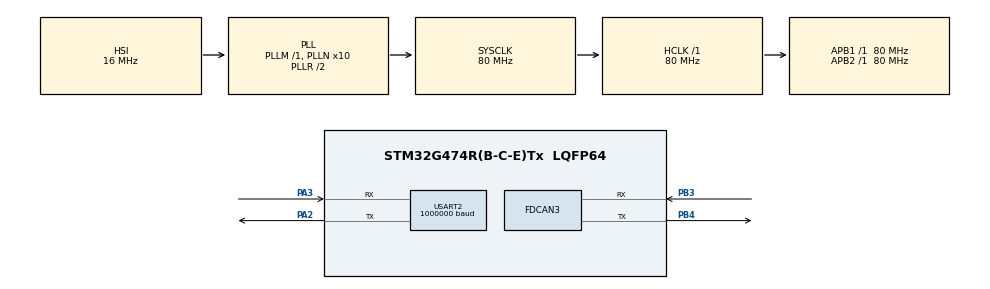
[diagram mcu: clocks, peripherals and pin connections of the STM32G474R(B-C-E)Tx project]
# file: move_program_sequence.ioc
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FDCAN3.CalculateBaudRateNominal=1000000
FDCAN3.CalculateTimeBitNominal=1000
FDCAN3.CalculateTimeQuantumNominal=50.0
FDCAN3.DataPrescaler=2
FDCAN3.DataTimeSeg1=15
FDCAN3.DataTimeSeg2=4
FDCAN3.FrameFormat=FDCAN_FRAME_FD_BRS
FDCAN3.NominalPrescaler=4
FDCAN3.NominalTimeSeg1=15
FDCAN3.NominalTimeSeg2=4
FDCAN3.StdFiltersNbr=1
Mcu.Family=STM32G4
Mcu.Name=STM32G474R(B-C-E)Tx
Mcu.Package=LQFP64
NVIC.FDCAN3_IT0_IRQn=true\:0\:0\:false\:false\:true\:true\:true\:true
NVIC.FDCAN3_IT1_IRQn=true\:0\:0\:false\:false\:true\:true\:true\:true
NVIC.PriorityGroup=NVIC_PRIORITYGROUP_4
NVIC.TIM6_DAC_IRQn=true\:0\:0\:false\:false\:true\:true\:true\:true
NVIC.TIM7_DAC_IRQn=true\:0\:0\:false\:false\:true\:true\:true\:true
NVIC.USART2_IRQn=true\:0\:0\:false\:false\:true\:true\:true\:true
PA2.Mode=Asynchronous
PA2.Signal=USART2_TX
PA3.Mode=Asynchronous
PA3.Signal=USART2_RX
PB3.Mode=FDCAN_Activate
PB3.Signal=FDCAN3_RX
PB4.Mode=FDCAN_Activate
PB4.Signal=FDCAN3_TX
ProjectManager.HeapSize=0x200
ProjectManager.StackSize=0x400
ProjectManager.TargetToolchain=STM32CubeIDE
RCC.ADC12Freq_Value=80000000
RCC.ADC345Freq_Value=80000000
RCC.AHBFreq_Value=80000000
RCC.APB1Freq_Value=80000000
RCC.APB1TimFreq_Value=80000000
RCC.APB2Freq_Value=80000000
RCC.APB2TimFreq_Value=80000000
RCC.CortexFreq_Value=80000000
RCC.EXTERNAL_CLOCK_VALUE=12288000
RCC.HCLKFreq_Value=80000000
RCC.HSE_VALUE=8000000
RCC.HSI48_VALUE=48000000
RCC.HSI_VALUE=16000000
RCC.LSE_VALUE=32768
RCC.PLLN=10
RCC.SYSCLKFreq_VALUE=80000000
RCC.SYSCLKSource=RCC_SYSCLKSOURCE_PLLCLK
RCC.USBFreq_Value=80000000
RCC.VCOOutputFreq_Value=160000000
TIM6.PeriodNoDither=7999
TIM6.Prescaler=9
TIM7.PeriodNoDither=39999
TIM7.Prescaler=199
USART2.BaudRate=1000000
USART2.VirtualMode-Asynchronous=VM_ASYNC
VP_SYS_VS_DBSignals.Mode=DisableDeadBatterySignals
VP_TIM6_VS_ClockSourceINT.Mode=Enable_Timer
VP_TIM7_VS_ClockSourceINT.Mode=Enable_Timer
board=custom

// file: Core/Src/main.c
/* USER CODE BEGIN Header */
/**
  ******************************************************************************
  * @file           : main.c
  * @brief          : Main program body
  ******************************************************************************
  * @attention
  *
  * Copyright (c) 2024 STMicroelectronics.
  * All rights reserved.
  *
  * This software is licensed under terms that can be found in the LICENSE file
  * in the root directory of this software component.
  * If no LICENSE file comes with this software, it is provided AS-IS.
  *
  ******************************************************************************
  */
/* USER CODE END Header */
#include "main.h"

/* USER CODE BEGIN Includes */
#include <stdio.h>
/* USER CODE END Includes */

/* USER CODE BEGIN PD */
#define R_F 4
#define L_F 3
#define R_B 1
#define L_B 2
/* USER CODE END PD */

FDCAN_HandleTypeDef hfdcan3;

TIM_HandleTypeDef htim6;
TIM_HandleTypeDef htim7;

UART_HandleTypeDef huart2;

/* USER CODE BEGIN PV */
typedef struct{
	uint16_t CANID;
	uint8_t motorID;
	//int8_t rotDir;//rotation direction
	int16_t trgVel;//target angle velocity [RPM]
	volatile int16_t actVel;//actual angle velocity [RPM]
	volatile int16_t p_actVel;//past actual velocit[RPM]
	volatile int16_t cu;//input
	double angle;//[rad]
	//double reductionRatio; //@param reduction ratio (1:param)
	int16_t actCurrent;//actual torque current
	float hensa;//hensa
}motor;

FDCAN_TxHeaderTypeDef TxHeader;
FDCAN_RxHeaderTypeDef RxHeader;
FDCAN_FilterTypeDef sFilterConfig;

uint8_t TxData[8] = {};
uint8_t RxData[8] = {};
uint32_t TxMailbox;

volatile int16_t purpose = -32;
int hekichi1 = 1000;
int hekichi2 = 2000;//reset
motor robomas[4] = {
		{0x201, 1, 0, 0, 0, 0, 0, 0, 0},
		{0x202, 2, 0, 0, 0, 0, 0, 0, 0},
		{0x203, 3, 0, 0, 0, 0, 0, 0, 0},
		{0x204, 4, 0, 0, 0, 0, 0, 0, 0}
};
volatile float k_p = 7, k_i = 0.5, k_d = 0.0001;

float ind[4] = {0, 0, 0 ,0};
int16_t count=1;

/* USER CODE END PV */

void SystemClock_Config(void);
static void MX_GPIO_Init(void);
static void MX_FDCAN3_Init(void);
static void MX_TIM6_Init(void);
static void MX_USART2_UART_Init(void);
static void MX_TIM7_Init(void);

/* USER CODE BEGIN 0 */

void HAL_TIM_PeriodElapsedCallback(TIM_HandleTypeDef *htim){
	if(htim == &htim6){

/*
		robomas[0].trgVel = (int)(-purpose * 36);
		robomas[1].trgVel = (int)(purpose * 36);
		robomas[2].trgVel =  (int)(purpose * 36);
		robomas[3].trgVel = (int)(-purpose * 36);
*/

		for (int i=0; i<=3; i++){
			robomas[i].hensa = robomas[i].trgVel - robomas[i].actVel;
			if (robomas[i].hensa >= 1000) robomas[i].hensa = 1000;
			else if (robomas[i].hensa <= -1000) robomas[i].hensa = -1000;
			float d = (robomas[i].actVel - robomas[i].p_actVel) / 0.001;
			ind[i] += robomas[i].hensa*0.1;
			if (d >= 30000) d = 30000;
			else if (d <= -30000) d = -30000;
			if (ind[i] >= 10000) ind[i] = 10000;
			else if (ind[i] <= -10000) ind[i] = -10000;

			float t = k_p*robomas[i].hensa;
			if (t>=10000) t = 10000;
			else if (t<=-10000) t = -10000;
			robomas[i].cu = (int16_t)(t+k_i*ind[i]+k_d*d);
			if (robomas[i].cu <= -10000) robomas[i].cu = -10000;
			else if (robomas[i].cu >= 10000) robomas[i].cu = 10000;

			TxData[i*2] = (robomas[i].cu) >> 8;
			TxData[i*2+1] = (uint8_t)((robomas[i].cu) & 0xff);
			robomas[i].p_actVel = robomas[i].actVel;
		}
		if (HAL_FDCAN_AddMessageToTxFifoQ(&hfdcan3, &TxHeader, TxData) != HAL_OK){
			Error_Handler();
		}
		if (count == hekichi2){
			count = 0;
		}
		count++;
	}

	if(htim == &htim7){
		if (count == -1) {
			robomas[R_F-1].trgVel *= -1;
			robomas[L_B-1].trgVel *= -1;
		}
		if (count == 1) {
			robomas[R_B-1].trgVel *= -1;
			robomas[L_F-1].trgVel *= -1;
		}
		count *= -1;
	}
}

void HAL_FDCAN_RxFifo0Callback(FDCAN_HandleTypeDef *hfdcan, uint32_t RxFifo0ITs){
	if ((RxFifo0ITs & FDCAN_IT_RX_FIFO0_NEW_MESSAGE) != RESET) {

	        /* Retrieve Rx messages from RX FIFO0 */
		if (HAL_FDCAN_GetRxMessage(&hfdcan3, FDCAN_RX_FIFO0, &RxHeader, RxData) != HAL_OK) {
			printf("fdcan_getrxmessage is error\r\n");
			Error_Handler();
		}
		for (int i=0; i<=3;i++){
			if (RxHeader.Identifier == (robomas[i].CANID)) {
				robomas[i].angle = (int16_t)((RxData[0] << 8) | RxData[1]);
				robomas[i].actVel = (int16_t)((RxData[2] << 8) | RxData[3]);
				robomas[i].actCurrent = (int16_t)((RxData[4] << 8) | RxData[5]);
			}
		}

	}

}

void FDCAN_RxSettings(void){
	FDCAN_FilterTypeDef FDCAN_Filter_settings;
	FDCAN_Filter_settings.IdType = FDCAN_STANDARD_ID;
	FDCAN_Filter_settings.FilterIndex = 0;
	FDCAN_Filter_settings.FilterType = FDCAN_FILTER_RANGE;
	FDCAN_Filter_settings.FilterConfig = FDCAN_FILTER_TO_RXFIFO0;
	FDCAN_Filter_settings.FilterID1 = 0x200;
	FDCAN_Filter_settings.FilterID2 = 0x210;

	if (HAL_FDCAN_ConfigFilter(&hfdcan3, &FDCAN_Filter_settings) != HAL_OK){
		printf("fdcan_configfilter is error\r\n");
		Error_Handler();
	}

	if (HAL_FDCAN_ConfigGlobalFilter(&hfdcan3, FDCAN_REJECT, FDCAN_FILTER_REJECT, FDCAN_FILTER_REMOTE, FDCAN_FILTER_REMOTE)){
		printf("fdcan_configglobalfilter is error\r\n");
		Error_Handler();
	}

	if (HAL_FDCAN_Start(&hfdcan3) != HAL_OK) {
		printf("fdcan_start is error\r\n");
		Error_Handler();
	}

	if (HAL_FDCAN_ActivateNotification(&hfdcan3, FDCAN_IT_RX_FIFO0_NEW_MESSAGE, 0) != HAL_OK){
		printf("fdcan_activatenotification is error\r\n");
		Error_Handler();
	}
}

void FDCAN_TxSettings(void) {
	  TxHeader.Identifier = 0x000;
	  TxHeader.IdType = FDCAN_STANDARD_ID;
	  TxHeader.TxFrameType = FDCAN_DATA_FRAME;
	  TxHeader.DataLength = FDCAN_DLC_BYTES_8;
	  TxHeader.ErrorStateIndicator = FDCAN_ESI_ACTIVE;
	  TxHeader.BitRateSwitch = FDCAN_BRS_OFF;
	  TxHeader.FDFormat = FDCAN_CLASSIC_CAN;
	  TxHeader.TxEventFifoControl = FDCAN_NO_TX_EVENTS;
	  TxHeader.MessageMarker = 0;
}

int _write(int file, char *ptr, int len)
{
    HAL_UART_Transmit(&huart2,(uint8_t *)ptr,len,10);
    return len;
}

/* USER CODE END 0 */

int main(void)
{

  /* USER CODE BEGIN 1 */
	setbuf(stdout, NULL);

  /* USER CODE END 1 */

  /* MCU Configuration--------------------------------------------------------*/

  /* Reset of all peripherals, Initializes the Flash interface and the Systick. */
  HAL_Init();

  /* Configure the system clock */
  SystemClock_Config();

  /* Initialize all configured peripherals */
  MX_GPIO_Init();
  MX_FDCAN3_Init();
  MX_TIM6_Init();
  MX_USART2_UART_Init();
  MX_TIM7_Init();
  /* USER CODE BEGIN 2 */
  printf("start\r\n");

  FDCAN_TxSettings();
  FDCAN_RxSettings();

  printf("can_start\r\n");

  TxHeader.Identifier = 0x200;
  HAL_TIM_Base_Start_IT(&htim6);
  HAL_TIM_Base_Start_IT(&htim7);
  robomas[R_F-1].trgVel = (int)(32 * 36);
  robomas[R_B-1].trgVel = (int)(32 * 36);
  robomas[L_F-1].trgVel =  (int)(-32 * 36);
  robomas[L_B-1].trgVel = (int)(-32 * 36);

  /* USER CODE END 2 */

  /* Infinite loop */
  /* USER CODE BEGIN WHILE */
  while (1)
  {
	  printf("count:%d,purpose:%d,cu:%d,trgVel:%d,actVel:%d,hensa:%d\r\n", count, purpose, robomas[0].cu, robomas[0].trgVel, robomas[0].actVel, (int)robomas[0].hensa);
	  HAL_Delay(1);
    /* USER CODE END WHILE */

  }
}

void SystemClock_Config(void)
{
  RCC_OscInitTypeDef RCC_OscInitStruct = {0};
  RCC_ClkInitTypeDef RCC_ClkInitStruct = {0};

  /** Configure the main internal regulator output voltage
  */
  HAL_PWREx_ControlVoltageScaling(PWR_REGULATOR_VOLTAGE_SCALE1);

  /** Initializes the RCC Oscillators according to the specified parameters
  * in the RCC_OscInitTypeDef structure.
  */
  RCC_OscInitStruct.OscillatorType = RCC_OSCILLATORTYPE_HSI;
  RCC_OscInitStruct.HSIState = RCC_HSI_ON;
  RCC_OscInitStruct.HSICalibrationValue = RCC_HSICALIBRATION_DEFAULT;
  RCC_OscInitStruct.PLL.PLLState = RCC_PLL_ON;
  RCC_OscInitStruct.PLL.PLLSource = RCC_PLLSOURCE_HSI;
  RCC_OscInitStruct.PLL.PLLM = RCC_PLLM_DIV1;
  RCC_OscInitStruct.PLL.PLLN = 10;
  RCC_OscInitStruct.PLL.PLLP = RCC_PLLP_DIV2;
  RCC_OscInitStruct.PLL.PLLQ = RCC_PLLQ_DIV2;
  RCC_OscInitStruct.PLL.PLLR = RCC_PLLR_DIV2;
  if (HAL_RCC_OscConfig(&RCC_OscInitStruct) != HAL_OK)
  {
    Error_Handler();
  }

  /** Initializes the CPU, AHB and APB buses clocks
  */
  RCC_ClkInitStruct.ClockType = RCC_CLOCKTYPE_HCLK|RCC_CLOCKTYPE_SYSCLK
                              |RCC_CLOCKTYPE_PCLK1|RCC_CLOCKTYPE_PCLK2;
  RCC_ClkInitStruct.SYSCLKSource = RCC_SYSCLKSOURCE_PLLCLK;
  RCC_ClkInitStruct.AHBCLKDivider = RCC_SYSCLK_DIV1;
  RCC_ClkInitStruct.APB1CLKDivider = RCC_HCLK_DIV1;
  RCC_ClkInitStruct.APB2CLKDivider = RCC_HCLK_DIV1;

  if (HAL_RCC_ClockConfig(&RCC_ClkInitStruct, FLASH_LATENCY_2) != HAL_OK)
  {
    Error_Handler();
  }
}

static void MX_FDCAN3_Init(void)
{

  hfdcan3.Instance = FDCAN3;
  hfdcan3.Init.ClockDivider = FDCAN_CLOCK_DIV1;
  hfdcan3.Init.FrameFormat = FDCAN_FRAME_FD_BRS;
  hfdcan3.Init.Mode = FDCAN_MODE_NORMAL;
  hfdcan3.Init.AutoRetransmission = DISABLE;
  hfdcan3.Init.TransmitPause = DISABLE;
  hfdcan3.Init.ProtocolException = DISABLE;
  hfdcan3.Init.NominalPrescaler = 4;
  hfdcan3.Init.NominalSyncJumpWidth = 1;
  hfdcan3.Init.NominalTimeSeg1 = 15;
  hfdcan3.Init.NominalTimeSeg2 = 4;
  hfdcan3.Init.DataPrescaler = 2;
  hfdcan3.Init.DataSyncJumpWidth = 1;
  hfdcan3.Init.DataTimeSeg1 = 15;
  hfdcan3.Init.DataTimeSeg2 = 4;
  hfdcan3.Init.StdFiltersNbr = 1;
  hfdcan3.Init.ExtFiltersNbr = 0;
  hfdcan3.Init.TxFifoQueueMode = FDCAN_TX_FIFO_OPERATION;
  if (HAL_FDCAN_Init(&hfdcan3) != HAL_OK)
  {
    Error_Handler();
  }

}

static void MX_TIM6_Init(void)
{

  TIM_MasterConfigTypeDef sMasterConfig = {0};

  htim6.Instance = TIM6;
  htim6.Init.Prescaler = 9;
  htim6.Init.CounterMode = TIM_COUNTERMODE_UP;
  htim6.Init.Period = 7999;
  htim6.Init.AutoReloadPreload = TIM_AUTORELOAD_PRELOAD_DISABLE;
  if (HAL_TIM_Base_Init(&htim6) != HAL_OK)
  {
    Error_Handler();
  }
  sMasterConfig.MasterOutputTrigger = TIM_TRGO_RESET;
  sMasterConfig.MasterSlaveMode = TIM_MASTERSLAVEMODE_DISABLE;
  if (HAL_TIMEx_MasterConfigSynchronization(&htim6, &sMasterConfig) != HAL_OK)
  {
    Error_Handler();
  }

}

static void MX_TIM7_Init(void)
{

  TIM_MasterConfigTypeDef sMasterConfig = {0};

  htim7.Instance = TIM7;
  htim7.Init.Prescaler = 199;
  htim7.Init.CounterMode = TIM_COUNTERMODE_UP;
  htim7.Init.Period = 39999;
  htim7.Init.AutoReloadPreload = TIM_AUTORELOAD_PRELOAD_DISABLE;
  if (HAL_TIM_Base_Init(&htim7) != HAL_OK)
  {
    Error_Handler();
  }
  sMasterConfig.MasterOutputTrigger = TIM_TRGO_RESET;
  sMasterConfig.MasterSlaveMode = TIM_MASTERSLAVEMODE_DISABLE;
  if (HAL_TIMEx_MasterConfigSynchronization(&htim7, &sMasterConfig) != HAL_OK)
  {
    Error_Handler();
  }

}

static void MX_USART2_UART_Init(void)
{

  huart2.Instance = USART2;
  huart2.Init.BaudRate = 1000000;
  huart2.Init.WordLength = UART_WORDLENGTH_8B;
  huart2.Init.StopBits = UART_STOPBITS_1;
  huart2.Init.Parity = UART_PARITY_NONE;
  huart2.Init.Mode = UART_MODE_TX_RX;
  huart2.Init.HwFlowCtl = UART_HWCONTROL_NONE;
  huart2.Init.OverSampling = UART_OVERSAMPLING_16;
  huart2.Init.OneBitSampling = UART_ONE_BIT_SAMPLE_DISABLE;
  huart2.Init.ClockPrescaler = UART_PRESCALER_DIV1;
  huart2.AdvancedInit.AdvFeatureInit = UART_ADVFEATURE_NO_INIT;
  if (HAL_UART_Init(&huart2) != HAL_OK)
  {
    Error_Handler();
  }
  if (HAL_UARTEx_SetTxFifoThreshold(&huart2, UART_TXFIFO_THRESHOLD_1_8) != HAL_OK)
  {
    Error_Handler();
  }
  if (HAL_UARTEx_SetRxFifoThreshold(&huart2, UART_RXFIFO_THRESHOLD_1_8) != HAL_OK)
  {
    Error_Handler();
  }
  if (HAL_UARTEx_DisableFifoMode(&huart2) != HAL_OK)
  {
    Error_Handler();
  }

}

static void MX_GPIO_Init(void)
{

  /* GPIO Ports Clock Enable */
  __HAL_RCC_GPIOA_CLK_ENABLE();
  __HAL_RCC_GPIOB_CLK_ENABLE();

}

void Error_Handler(void)
{
  /* USER CODE BEGIN Error_Handler_Debug */
  /* User can add his own implementation to report the HAL error return state */
  __disable_irq();
  while (1)
  {
	  printf("Error\r\n");
  }
  /* USER CODE END Error_Handler_Debug */
}
